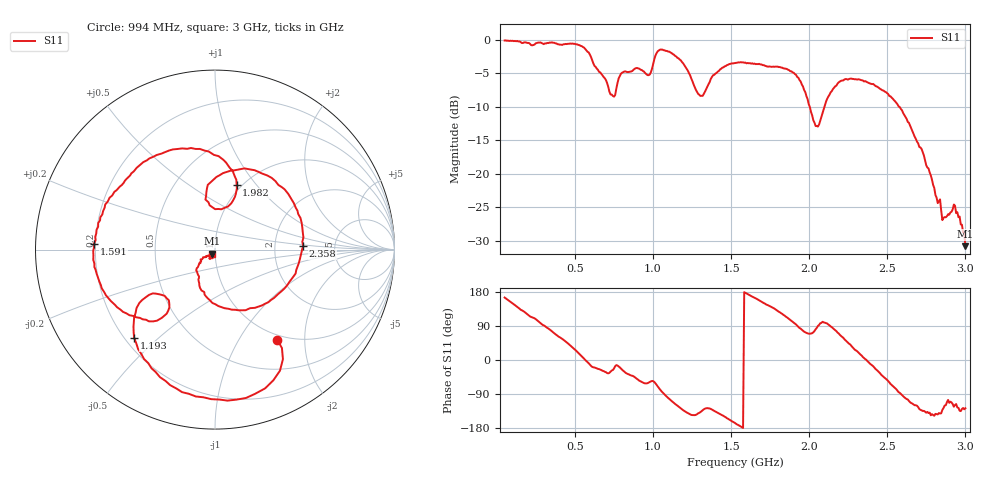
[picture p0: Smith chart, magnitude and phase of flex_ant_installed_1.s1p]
! nanovna_capture.py 2026-11-02T23:26:34+0900
! NanoVNA-F_V2 fw 0.6.0 SN 4A3639384505514B
! cal: load open short cal'ed  over 50000000-3000000000 Hz, 201 points
! points 401, avg 4
! Ledger Flex implant antenna via its own coax onto the MHF4-SMA adapter, unplugged from the modem; installed (case closed as far as the coax allows), non-metal surface, hands away; capture 1
# HZ S RI R 50
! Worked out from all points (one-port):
!   401 points, 50 MHz to 3 GHz, reference 50 ohm
!   lowest |S11| = -30.8 dB at 3 GHz (marker M1), VSWR 1.06, Z = 48.2 - j2.22 ohm
!   |S11| at or under -10 dB: 2.004 GHz to 2.097 GHz (93.33 MHz wide, 4.55 % of centre); 2.577 GHz to end of sweep
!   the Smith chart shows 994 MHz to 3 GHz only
!   S11 on the Smith chart (normalised r, x): 994 MHz: 0.93, -1.48; 1.193 GHz: 0.24, -0.42; 1.591 GHz: 0.19, +0.02; 1.982 GHz: 0.95, +0.80; 2.358 GHz: 2.92, +0.16; 3 GHz: 0.96, -0.04
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5e7  -0.9531 0.2589
2.7125e8  -0.1704 0.9368
4.1875e8  0.5136 0.7571
5.29375e8  0.8766 0.2507
6.105e8  0.6688 -0.2177
7.285e8  0.3366 -0.1989
7.875e8  0.5052 -0.1795
9.94e8  0.347 -0.5012
1.060375e9  0.0699 -0.8414
1.15625e9  -0.3718 -0.6324
1.193125e9  -0.4509 -0.4913
1.266875e9  -0.3672 -0.2521
1.33325e9  -0.2544 -0.3227
1.414375e9  -0.4379 -0.3775
1.525e9  -0.6505 -0.1596
1.591375e9  -0.6746 0.0332
1.768375e9  -0.4662 0.4247
1.89375e9  -0.1075 0.5607
1.98225e9  0.1204 0.3604
2.048625e9  0.0198 0.2263
2.107625e9  -0.0445 0.3422
2.2625e9  0.3872 0.3364
2.358375e9  0.4912 0.0206
2.491125e9  0.2632 -0.3105
2.63125e9  -0.06 -0.2364
2.859875e9  -0.028 -0.0377
2.933625e9  -0.0277 -0.0507
3e9  -0.0175 -0.023
